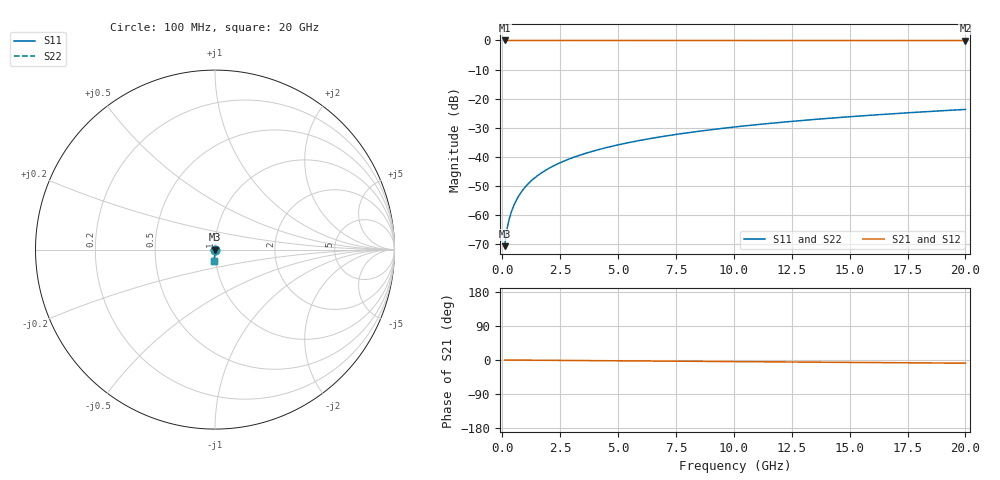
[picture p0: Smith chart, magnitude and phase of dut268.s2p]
! Touchstone file exported from HFSS 2026.1.0
!  File:  C:/ffzhzh/LocalFiles/Ansys_Project_Files/temp_train_TSV_268_1782993261_42984.aedt
!  Generated:  07:55:53 PM Jul  2, 2026
!  Design:  TSV
!  Project:  temp_train_TSV_268_1782993261_42984
! Variables:
!  h_bsmrdl = 2um
!  h_ox = 20um
!  h_rdl = 5um
!  h_sub = 79.28um
!  h_tmrdl = 5um
!  h_tsv = 79.28um
!  h_via = 3um
!  l_bsmrdl = 300um
!  l_sub = 426.28um
!  l_tmrdl = 200um
!  m_sub = 200um
!  pitch = 35.9um
!  r_tsv = 13.14um
!  s_tmrdl = 10um
!  w_bsmrdl = 18um
!  w_sub = 500um
!  w_tmrdl = 12um
!  x_tsv_center1 = 206um
!  x_tsv_center2 = 524um
!  x_tsv_center3 = 736um
!  x_tsv_center4 = 1054um
!  x_tsv_center5 = 1266um
!  x_tsv_center6 = 1584um
# GHz S MA R 50.000000
! Terminal data exported
! Port[1] = TSV1_1_T1
! Port[2] = TSV1_1_T2
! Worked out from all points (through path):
!   200 points, 100 MHz to 20 GHz, reference 50 ohm
!   highest |S21| = 0.00 dB at 100 MHz (marker M1); lowest = 0.0 dB at 20 GHz (marker M2)
!   group delay of S21, straight-line fit = 1.17 ps
!   lowest |S11| = -70.6 dB at 100 MHz (marker M3), VSWR 1.00, Z = 50 - j0.028 ohm
!   |S11| at or under -10 dB: start of sweep to end of sweep
!   |S22| runs from -70.6 to -23.7 dB; largest |S21 - S12| = 4.2e-15
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0.1  0.0002948 -71.6  0.9999 -0.0  0.9999 -0.0  0.0002948 -71.6
! Gamma 0 0 0 0
! Port Impedance 50 0 50 0
0.2  0.0005745 -79.0  0.9999 -0.1  0.9999 -0.1  0.0005745 -79.0
0.3  0.0008663 -81.2  0.9999 -0.1  0.9999 -0.1  0.0008663 -81.2
0.4  0.001168 -82.2  0.9998 -0.2  0.9998 -0.2  0.001168 -82.2
0.5  0.001477 -82.8  0.9998 -0.2  0.9998 -0.2  0.001477 -82.8
0.7  0.002112 -83.8  0.9998 -0.3  0.9998 -0.3  0.002112 -83.8
0.8  0.002434 -84.2  0.9997 -0.3  0.9997 -0.3  0.002434 -84.2
1  0.003083 -84.9  0.9997 -0.4  0.9997 -0.4  0.003083 -84.9
1.2  0.003735 -85.5  0.9997 -0.5  0.9997 -0.5  0.003735 -85.5
1.4  0.004388 -86.1  0.9996 -0.6  0.9996 -0.6  0.004388 -86.1
1.7  0.005366 -86.7  0.9996 -0.7  0.9996 -0.7  0.005366 -86.7
2  0.006344 -87.2  0.9996 -0.9  0.9996 -0.9  0.006344 -87.2
2.7  0.008625 -88.1  0.9995 -1.2  0.9995 -1.2  0.008625 -88.1
3.5  0.01124 -88.9  0.9994 -1.5  0.9994 -1.5  0.01124 -88.9
4.2  0.01353 -89.4  0.9994 -1.8  0.9994 -1.8  0.01353 -89.4
5  0.01615 -90.0  0.9993 -2.1  0.9993 -2.1  0.01615 -90.0
6.8  0.02207 -91.0  0.999 -2.9  0.999 -2.9  0.02207 -91.0
8.3  0.02701 -91.8  0.9988 -3.5  0.9988 -3.5  0.02702 -91.8
10.1  0.03295 -92.7  0.9986 -4.3  0.9986 -4.3  0.03295 -92.7
13.4  0.04383 -94.3  0.998 -5.7  0.998 -5.7  0.04383 -94.3
16.7  0.05469 -95.9  0.9974 -7.0  0.9974 -7.0  0.05469 -95.8
20  0.06552 -97.3  0.9966 -8.4  0.9966 -8.4  0.06552 -97.3
